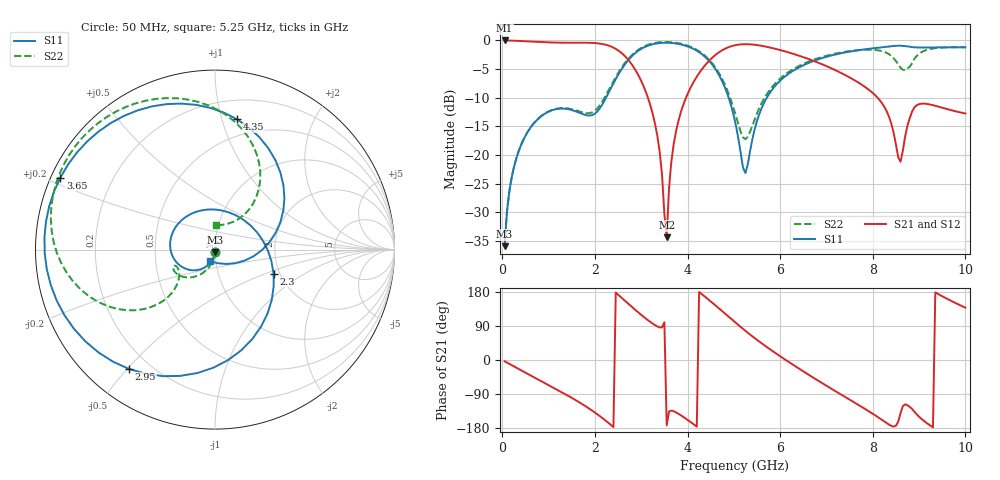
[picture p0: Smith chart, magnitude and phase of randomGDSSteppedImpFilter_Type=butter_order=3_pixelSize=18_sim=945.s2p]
! freq	dB(S11)	phase(S11)	dB(S12)	phase(S12)
!  dB(S21)	phase(S21)	dB(S22)	phase(S22)
!S-par simulation data
#  GHz  S  DB  R 50
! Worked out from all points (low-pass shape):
!   200 points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, 50 MHz to 10 GHz, reference 50 ohm
!   highest |S21| = -0.01 dB at 50 MHz (marker M1); lowest = -34.3 dB at 3.55 GHz (marker M2)
!   |S21| within 3 dB of the highest: start of sweep to 2.679 GHz; 4.535 GHz to 6.532 GHz (1.997 GHz wide, 36.1 % of centre)
!   lowest |S11| = -35.9 dB at 50 MHz (marker M3), VSWR 1.03, Z = 49.9 - j1.6 ohm
!   |S11| at or under -10 dB: start of sweep to 2.24 GHz; 4.888 GHz to 5.712 GHz (823.4 MHz wide, 15.5 % of centre)
!   |S22| runs from -35.9 to -0.3 dB; largest |S21 - S12| = 0
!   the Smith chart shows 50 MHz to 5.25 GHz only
!   S11 on the Smith chart (normalised r, x): 50 MHz: 1.00, -0.03; 2.3 GHz: 1.86, -0.57; 2.95 GHz: 0.12, -0.51; 3.65 GHz: 0.03, +0.22; 4.35 GHz: 0.35, +1.12; 5.25 GHz: 0.93, -0.12
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0.05  -35.88 -93.2  -0.01 -3.4  -0.01 -3.4  -35.87 -92.0
0.2  -24.03 -105.9  -0.04 -13.5  -0.04 -13.5  -24.01 -101.3
0.55  -15.93 -133.9  -0.17 -36.7  -0.17 -36.7  -15.91 -120.4
1.75  -12.89 99.8  -0.40 -118.2  -0.40 -118.2  -12.59 -156.6
2.3  -9.06 -22.3  -0.92 -166.7  -0.92 -166.7  -8.63 -134.8
2.95  -1.73 -125.8  -6.25 124.1  -6.25 124.1  -1.56 -171.0
3.4  -0.45 -178.8  -19.52 86.0  -19.52 86.0  -0.33 154.6
3.55  -0.40 165.4  -34.35 -172.4  -34.35 -172.4  -0.28 143.7
3.65  -0.44 155.1  -21.19 -133.4  -21.19 -133.4  -0.32 136.5
4.35  -2.66 80.4  -4.62 169.8  -4.62 169.8  -2.49 85.0
4.7  -6.34 36.6  -1.96 133.9  -1.96 133.9  -6.00 59.8
5.05  -15.04 -20.1  -0.81 97.1  -0.81 97.1  -13.33 52.4
5.25  -23.13 -115.8  -0.66 76.9  -0.66 76.9  -17.23 88.0
5.9  -7.86 99.2  -1.47 18.2  -1.47 18.2  -7.45 110.3
6.7  -3.65 18.3  -3.50 -45.4  -3.50 -45.4  -3.43 67.1
7.75  -1.64 -67.8  -7.66 -122.9  -7.66 -122.9  -1.66 -3.9
8.35  -1.06 -107.3  -13.30 -170.4  -13.30 -170.4  -2.40 -78.4
8.6  -0.93 -123.4  -21.16 -140.0  -21.16 -140.0  -4.76 -164.9
8.75  -1.04 -132.6  -14.81 -119.5  -14.81 -119.5  -4.88 111.3
8.85  -1.17 -138.0  -12.39 -129.3  -12.39 -129.3  -3.94 71.4
9.2  -1.24 -154.9  -11.12 -169.6  -11.12 -169.6  -1.58 -3.6
10  -1.20 167.2  -12.75 138.0  -12.75 138.0  -1.21 -72.2
